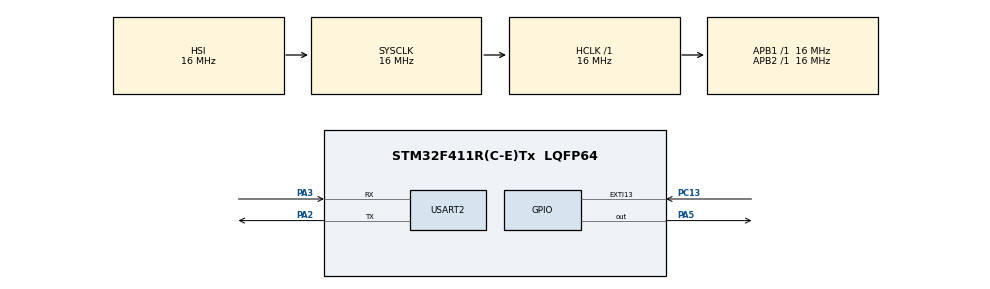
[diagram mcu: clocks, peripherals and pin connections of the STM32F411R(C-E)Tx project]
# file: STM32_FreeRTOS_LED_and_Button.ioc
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Mcu.Family=STM32F4
Mcu.Name=STM32F411R(C-E)Tx
Mcu.Package=LQFP64
NVIC.EXTI15_10_IRQn=true\:0\:0\:false\:false\:true\:true\:true
NVIC.PriorityGroup=NVIC_PRIORITYGROUP_4
NVIC.TIM2_IRQn=true\:0\:0\:false\:false\:true\:false\:true
NVIC.TimeBase=TIM2_IRQn
NVIC.TimeBaseIP=TIM2
PA2.Mode=Asynchronous
PA2.Signal=USART2_TX
PA3.Mode=Asynchronous
PA3.Signal=USART2_RX
PA5.Signal=GPIO_Output
PC13-ANTI_TAMP.Signal=GPXTI13
ProjectManager.HeapSize=0x200
ProjectManager.StackSize=0x400
ProjectManager.TargetToolchain=STM32CubeIDE
RCC.AHBFreq_Value=16000000
RCC.APB1Freq_Value=16000000
RCC.APB2Freq_Value=16000000
RCC.CortexFreq_Value=16000000
RCC.HSE_VALUE=25000000
RCC.HSI_VALUE=16000000
RCC.LSE_VALUE=32768
RCC.SYSCLKFreq_VALUE=16000000
RCC.VCOOutputFreq_Value=192000000
USART2.VirtualMode=VM_ASYNC
VP_SYS_VS_tim2.Mode=TIM2
board=custom

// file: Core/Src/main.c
/* USER CODE BEGIN Header */
/**
  ******************************************************************************
  * @file           : main.c
  * @brief          : Main program body
  ******************************************************************************
  * @attention
  *
  * <h2><center>&copy; Copyright (c) 2021 STMicroelectronics.
  * All rights reserved.</center></h2>
  *
  * This software component is licensed by ST under BSD 3-Clause license,
  * the "License"; You may not use this file except in compliance with the
  * License. You may obtain a copy of the License at:
  *                        opensource.org/licenses/BSD-3-Clause
  *
  ******************************************************************************
  */
/* USER CODE END Header */

#include "main.h"

/* USER CODE BEGIN Includes */
#include <stdint.h>
#include <string.h>
#include "FreeRTOS.h"
#include "task.h"
/* USER CODE END Includes */

/* USER CODE BEGIN PD */
#define SET			1
#define RESET		0
#define PRESSED		SET
#define NOT_PRESSED	RESET
/* USER CODE END PD */

UART_HandleTypeDef huart2;

/* USER CODE BEGIN PV */
_Bool button_status = NOT_PRESSED;
/* USER CODE END PV */

void SystemClock_Config(void);
static void MX_GPIO_Init(void);
static void MX_USART2_UART_Init(void);
/* USER CODE BEGIN PFP */
//void vButtonTask_handler(void);
void vLEDTask_handler(void);
void printmsg(const char*);
/* USER CODE END PFP */

/* USER CODE BEGIN 0 */
//TaskHandle_t xTaskHandle_button = NULL;
TaskHandle_t xTaskHandle_led = NULL;
/* USER CODE END 0 */

int main(void)
{

  /* MCU Configuration--------------------------------------------------------*/

  /* Reset of all peripherals, Initializes the Flash interface and the Systick. */
  HAL_Init();

  /* Configure the system clock */
  SystemClock_Config();

  /* Initialize all configured peripherals */
  MX_GPIO_Init();
  MX_USART2_UART_Init();
  /* USER CODE BEGIN 2 */

  xTaskCreate((pdTASK_CODE)vLEDTask_handler, "LED Task", configMINIMAL_STACK_SIZE, NULL, 1, &xTaskHandle_led);

  vTaskStartScheduler();
  /* USER CODE END 2 */

  /* Infinite loop */
  while (1)
  {

  }
}

void SystemClock_Config(void)
{
  RCC_OscInitTypeDef RCC_OscInitStruct = {0};
  RCC_ClkInitTypeDef RCC_ClkInitStruct = {0};

  /** Configure the main internal regulator output voltage
  */
  __HAL_RCC_PWR_CLK_ENABLE();
  __HAL_PWR_VOLTAGESCALING_CONFIG(PWR_REGULATOR_VOLTAGE_SCALE1);
  /** Initializes the CPU, AHB and APB busses clocks
  */
  RCC_OscInitStruct.OscillatorType = RCC_OSCILLATORTYPE_HSI;
  RCC_OscInitStruct.HSIState = RCC_HSI_ON;
  RCC_OscInitStruct.HSICalibrationValue = RCC_HSICALIBRATION_DEFAULT;
  RCC_OscInitStruct.PLL.PLLState = RCC_PLL_NONE;
  if (HAL_RCC_OscConfig(&RCC_OscInitStruct) != HAL_OK)
  {
    Error_Handler();
  }
  /** Initializes the CPU, AHB and APB busses clocks
  */
  RCC_ClkInitStruct.ClockType = RCC_CLOCKTYPE_HCLK|RCC_CLOCKTYPE_SYSCLK
                              |RCC_CLOCKTYPE_PCLK1|RCC_CLOCKTYPE_PCLK2;
  RCC_ClkInitStruct.SYSCLKSource = RCC_SYSCLKSOURCE_HSI;
  RCC_ClkInitStruct.AHBCLKDivider = RCC_SYSCLK_DIV1;
  RCC_ClkInitStruct.APB1CLKDivider = RCC_HCLK_DIV1;
  RCC_ClkInitStruct.APB2CLKDivider = RCC_HCLK_DIV1;

  if (HAL_RCC_ClockConfig(&RCC_ClkInitStruct, FLASH_LATENCY_0) != HAL_OK)
  {
    Error_Handler();
  }
}

static void MX_USART2_UART_Init(void)
{

  huart2.Instance = USART2;
  huart2.Init.BaudRate = 115200;
  huart2.Init.WordLength = UART_WORDLENGTH_8B;
  huart2.Init.StopBits = UART_STOPBITS_1;
  huart2.Init.Parity = UART_PARITY_NONE;
  huart2.Init.Mode = UART_MODE_TX_RX;
  huart2.Init.HwFlowCtl = UART_HWCONTROL_NONE;
  huart2.Init.OverSampling = UART_OVERSAMPLING_16;
  if (HAL_UART_Init(&huart2) != HAL_OK)
  {
    Error_Handler();
  }

}

static void MX_GPIO_Init(void)
{
  GPIO_InitTypeDef GPIO_InitStruct = {0};

  /* GPIO Ports Clock Enable */
  __HAL_RCC_GPIOC_CLK_ENABLE();
  __HAL_RCC_GPIOA_CLK_ENABLE();

  /*Configure GPIO pin Output Level */
  HAL_GPIO_WritePin(GPIOA, GPIO_PIN_5, GPIO_PIN_RESET);

  /*Configure GPIO pin : PC13 -- User Button*/
  GPIO_InitStruct.Pin = GPIO_PIN_13;
  GPIO_InitStruct.Mode = GPIO_MODE_IT_FALLING; //trigger interrupt when button is pressed
  GPIO_InitStruct.Pull = GPIO_NOPULL;
  HAL_GPIO_Init(GPIOC, &GPIO_InitStruct);

  /*Configure GPIO pin : PA5 -- GREEN LED*/
  GPIO_InitStruct.Pin = GPIO_PIN_5;
  GPIO_InitStruct.Mode = GPIO_MODE_OUTPUT_PP;
  GPIO_InitStruct.Pull = GPIO_NOPULL;
  GPIO_InitStruct.Speed = GPIO_SPEED_FREQ_LOW;
  HAL_GPIO_Init(GPIOA, &GPIO_InitStruct);

  /* EXTI interrupt init*/
  HAL_NVIC_SetPriority(EXTI15_10_IRQn, 0, 0);
  HAL_NVIC_EnableIRQ(EXTI15_10_IRQn);

}

/* USER CODE BEGIN 4 */
void printmsg(const char *msg) {
	while (HAL_UART_GetState(&huart2) == HAL_UART_STATE_BUSY_TX);
	HAL_UART_Transmit(&huart2, (uint8_t*) msg, (uint16_t) strlen(msg),
			HAL_MAX_DELAY);
}

void vLEDTask_handler(void)
{
	while(1)
	{
		if(button_status == PRESSED)
		{
			//toggling logic
			if(!HAL_GPIO_ReadPin(GPIOA, GPIO_PIN_5))
				HAL_GPIO_WritePin(GPIOA, GPIO_PIN_5, GPIO_PIN_SET);
			else
				HAL_GPIO_WritePin(GPIOA, GPIO_PIN_5, GPIO_PIN_RESET);

			button_status = NOT_PRESSED;
		}
	}
}

void HAL_GPIO_EXTI_Callback(uint16_t GPIO_Pin)
{
	if(GPIO_Pin == GPIO_PIN_13) //PC13 -- user button
	{
		button_status = PRESSED;
	}
}

/* USER CODE END 4 */

 /**
  * @brief  Period elapsed callback in non blocking mode
  * @note   This function is called  when TIM2 interrupt took place, inside
  * HAL_TIM_IRQHandler(). It makes a direct call to HAL_IncTick() to increment
  * a global variable "uwTick" used as application time base.
  * @param  htim : TIM handle
  * @retval None
  */
void HAL_TIM_PeriodElapsedCallback(TIM_HandleTypeDef *htim)
{
  if (htim->Instance == TIM2) {
    HAL_IncTick();
  }
}

void Error_Handler(void)
{
}

/************************ (C) COPYRIGHT STMicroelectronics *****END OF FILE****/
